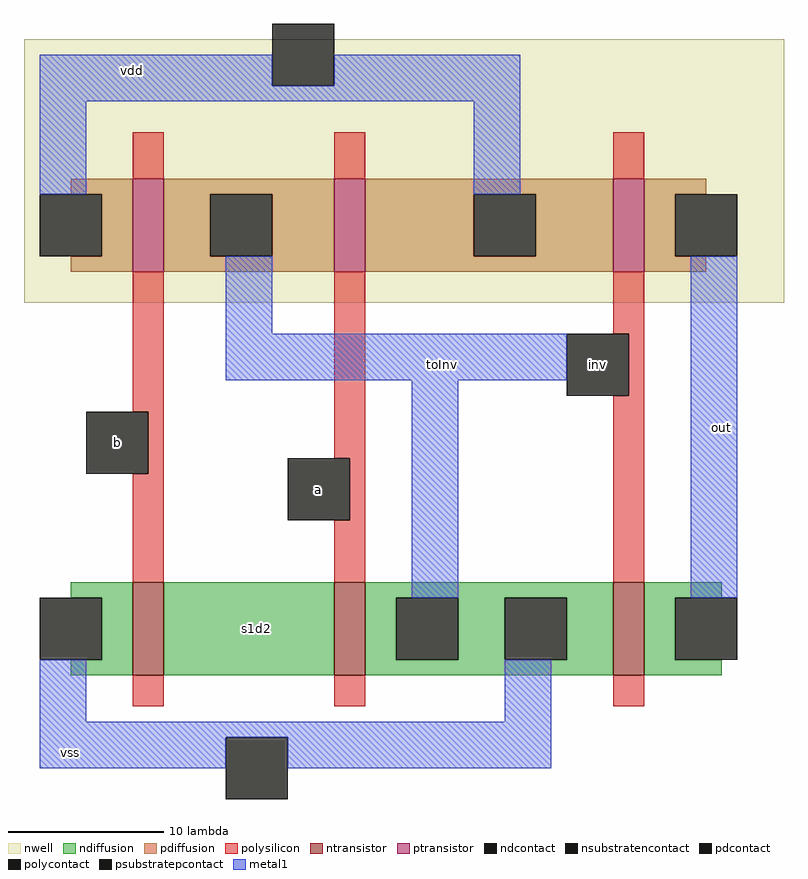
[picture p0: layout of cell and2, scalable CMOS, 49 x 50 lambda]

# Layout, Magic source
magic
tech scmos
<< nwell >>
rect -1 32 48 49
<< polysilicon >>
rect 6 40 8 43
rect 19 40 21 43
rect 37 40 39 43
rect 6 25 8 34
rect 7 21 8 25
rect 19 22 21 34
rect 37 30 39 34
rect 38 26 39 30
rect 6 14 8 21
rect 20 18 21 22
rect 19 14 21 18
rect 37 14 39 26
rect 6 6 8 8
rect 19 6 21 8
rect 37 6 39 8
<< ndiffusion >>
rect 2 13 6 14
rect 4 9 6 13
rect 2 8 6 9
rect 8 8 19 14
rect 21 13 37 14
rect 21 9 23 13
rect 27 9 30 13
rect 34 9 37 13
rect 21 8 37 9
rect 39 13 44 14
rect 39 9 41 13
rect 39 8 44 9
<< pdiffusion >>
rect 2 39 6 40
rect 4 35 6 39
rect 2 34 6 35
rect 8 39 19 40
rect 8 35 11 39
rect 15 35 19 39
rect 8 34 19 35
rect 21 39 37 40
rect 21 35 28 39
rect 32 35 37 39
rect 21 34 37 35
rect 39 39 43 40
rect 39 35 41 39
rect 39 34 43 35
<< metal1 >>
rect 0 46 15 48
rect 19 46 31 48
rect 0 45 31 46
rect 0 39 3 45
rect 28 39 31 45
rect 12 30 15 35
rect 12 27 34 30
rect 24 13 27 27
rect 42 13 45 35
rect 0 5 3 9
rect 30 5 33 9
rect 0 4 33 5
rect 0 2 12 4
rect 16 2 33 4
<< ntransistor >>
rect 6 8 8 14
rect 19 8 21 14
rect 37 8 39 14
<< ptransistor >>
rect 6 34 8 40
rect 19 34 21 40
rect 37 34 39 40
<< polycontact >>
rect 3 21 7 25
rect 34 26 38 30
rect 16 18 20 22
<< ndcontact >>
rect 0 9 4 13
rect 23 9 27 13
rect 30 9 34 13
rect 41 9 45 13
<< pdcontact >>
rect 0 35 4 39
rect 11 35 15 39
rect 28 35 32 39
rect 41 35 45 39
<< psubstratepcontact >>
rect 12 0 16 4
<< nsubstratencontact >>
rect 15 46 19 50
<< labels >>
rlabel polycontact 5 23 5 23 1 b
rlabel polycontact 18 20 18 20 1 a
rlabel metal1 2 3 2 3 1 vss
rlabel metal1 6 47 6 47 5 vdd
rlabel ndiffusion 14 11 14 11 1 s1d2
rlabel metal1 44 24 44 24 7 out
rlabel metal1 26 28 26 28 1 toInv
rlabel polycontact 36 28 36 28 1 inv
<< end >>
